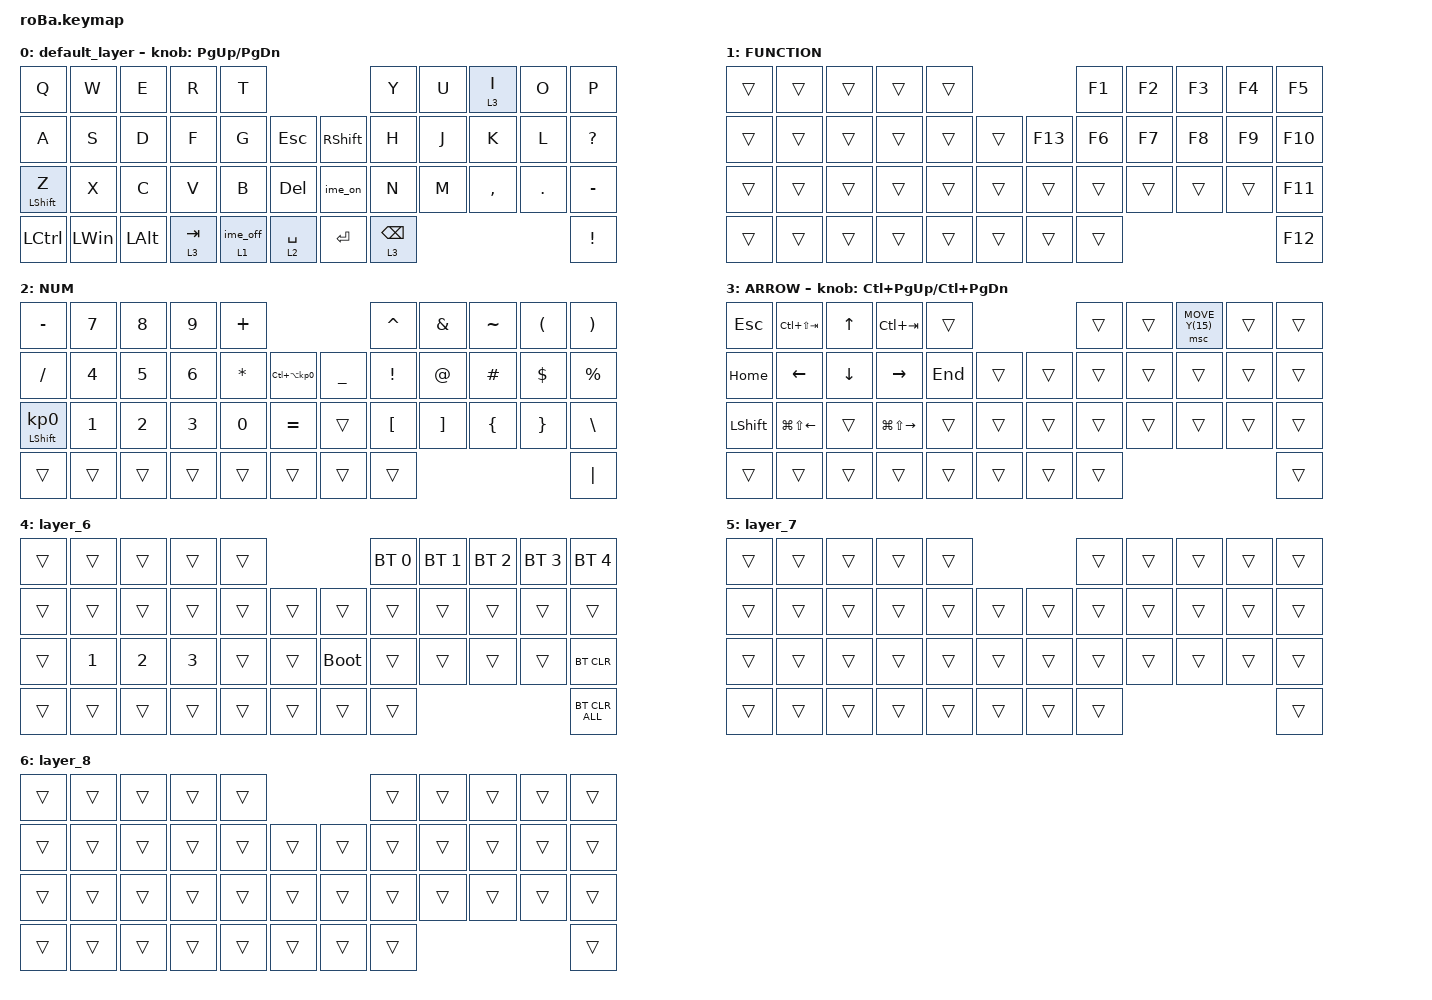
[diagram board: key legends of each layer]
#include <behaviors.dtsi>
#include <dt-bindings/zmk/bt.h>
#include <dt-bindings/zmk/keys.h>
#include <dt-bindings/zmk/pointing.h>

// The host OS uses the US keyboard layout, where Henkan/Muhenkan do nothing.
// Microsoft IME is set to: Shift+Space = IME on, Ctrl+Space = IME off.
// The IME only reacts when the modifier is already held before Space goes
// down, so these are sent as press-modifier / tap-Space / release-modifier
// macros (ime_on, ime_off) rather than as LS(SPACE) / LC(SPACE).

&mt {
    flavor = "balanced";
    quick-tap-ms = <0>;
};

&trackball {
    //  automouse-layer = <6>;

    scroll-layers = <6>;

    // arrows {
    //     layers = <3>;
    //     bindings =
    //         <&kp RIGHT_ARROW>,
    //         <&kp LEFT_ARROW>,
    //         <&kp UP_ARROW>,
    //         <&kp DOWN_ARROW>;
    //     tick = <10>;
    //     wait-ms = <5>;
    //     tap-ms = <5>;
    // };
};

/ {
    combos {
        compatible = "zmk,combos";

        tab {
            bindings = <&kp TAB>;
            key-positions = <11 12>;
        };

        shift_tab {
            bindings = <&kp LS(TAB)>;
            key-positions = <12 13>;
        };

        muhennkann {
            bindings = <&ime_off_to_base>;
            key-positions = <11 10>;
        };

        double_quotation {
            bindings = <&kp DOUBLE_QUOTES>;
            key-positions = <20 21>;
        };

        eq {
            bindings = <&kp EQUAL>;
            key-positions = <24 25>;
        };

        esc {
            bindings = <&kp ESC>;
            key-positions = <0 1>;
            layers = <0>;
        };

        mouse {
            bindings = <&mkp MB1>;
            key-positions = <19 18>;
        };

        mouse2 {
            bindings = <&mkp MB2>;
            key-positions = <19 20>;
        };

        mouse3 {
            bindings = <&mkp MB3>;
            key-positions = <18 19 20>;
        };
    };

    macros {
        to_layer_0: to_layer_0 {
            compatible = "zmk,behavior-macro-one-param";
            #binding-cells = <1>;
            bindings = <&to 0 &macro_param_1to1 &kp MACRO_PLACEHOLDER>;
            label = "TO_LAYER_0";
        };

        ime_on: ime_on {
            compatible = "zmk,behavior-macro";
            #binding-cells = <0>;
            bindings
                = <&macro_press &kp LSHIFT>
                , <&macro_tap &kp SPACE>
                , <&macro_release &kp LSHIFT>
                ;
        };

        // One-param form so it can be the tap side of a hold-tap; the param is ignored.
        ime_off: ime_off {
            compatible = "zmk,behavior-macro-one-param";
            #binding-cells = <1>;
            bindings
                = <&macro_press &kp LCTRL>
                , <&macro_tap &kp SPACE>
                , <&macro_release &kp LCTRL>
                ;
        };

        ime_off_to_base: ime_off_to_base {
            compatible = "zmk,behavior-macro";
            #binding-cells = <0>;
            bindings
                = <&macro_tap &to 0>
                , <&macro_press &kp LCTRL>
                , <&macro_tap &kp SPACE>
                , <&macro_release &kp LCTRL>
                ;
        };
    };

    behaviors {
        lt_to_layer_0: lt_to_layer_0 {
            compatible = "zmk,behavior-hold-tap";
            label = "LAYER_TAP_TO_0";
            bindings = <&mo>, <&to_layer_0>;

            #binding-cells = <2>;
            tapping-term-ms = <200>;
        };

        // Like &lt, but the tap turns the IME off.
        lt_ime_off: lt_ime_off {
            compatible = "zmk,behavior-hold-tap";
            #binding-cells = <2>;
            flavor = "tap-preferred";
            tapping-term-ms = <200>;
            bindings = <&mo>, <&ime_off>;
        };
    };

    keymap {
        compatible = "zmk,keymap";

        default_layer {
            bindings = <
&kp Q             &kp W         &kp E         &kp R      &kp T                                                 &kp Y            &kp U  &lt 3 I    &kp O    &kp P
&kp A             &kp S         &kp D         &kp F      &kp G               &kp ESC          &kp RIGHT_SHIFT  &kp H            &kp J  &kp K      &kp L    &kp QUESTION
&mt LEFT_SHIFT Z  &kp X         &kp C         &kp V      &kp B               &kp DEL          &ime_on          &kp N            &kp M  &kp COMMA  &kp DOT  &kp MINUS
&kp LCTRL         &kp LEFT_WIN  &kp LEFT_ALT  &lt 3 TAB  &lt_ime_off 1 0     &lt 2 SPACE      &kp ENTER        &lt 3 BACKSPACE                             &kp EXCL
            >;

            sensor-bindings = <&inc_dec_kp PG_UP PAGE_DOWN>;
        };

        FUNCTION {
            bindings = <
&trans  &trans  &trans  &trans  &trans                       &kp F1  &kp F2  &kp F3  &kp F4  &kp F5
&trans  &trans  &trans  &trans  &trans  &trans      &kp F13  &kp F6  &kp F7  &kp F8  &kp F9  &kp F10
&trans  &trans  &trans  &trans  &trans  &trans      &trans   &trans  &trans  &trans  &trans  &kp F11
&trans  &trans  &trans  &trans  &trans  &trans      &trans   &trans                          &kp F12
            >;
        };

        NUM {
            bindings = <
&kp MINUS                   &kp NUMBER_7  &kp NUMBER_8  &kp NUMBER_9  &kp PLUS                                                   &kp CARET         &kp AMPERSAND      &kp TILDE       &kp LEFT_PARENTHESIS  &kp RIGHT_PARENTHESIS
&kp SLASH                   &kp NUMBER_4  &kp NUMBER_5  &kp NUMBER_6  &kp ASTERISK  &kp LC(LA(KP_NUMBER_0))      &kp UNDERSCORE  &kp EXCLAMATION   &kp AT_SIGN        &kp HASH        &kp DOLLAR            &kp PERCENT
&mt LEFT_SHIFT KP_NUMBER_0  &kp NUMBER_1  &kp NUMBER_2  &kp NUMBER_3  &kp NUMBER_0  &kp EQUAL                    &trans          &kp LEFT_BRACKET  &kp RIGHT_BRACKET  &kp LEFT_BRACE  &kp RIGHT_BRACE       &kp BACKSLASH
&trans                      &trans        &trans        &trans        &trans        &trans                       &trans          &trans                                                                     &kp PIPE
            >;
        };

        ARROW {
            bindings = <
&kp ESCAPE      &kp LC(LS(TAB))         &kp UP_ARROW    &kp LC(TAB)              &trans                       &trans  &trans  &msc MOVE_Y(15)  &trans  &trans
&kp HOME        &kp LEFT_ARROW          &kp DOWN_ARROW  &kp RIGHT_ARROW          &kp END  &trans      &trans  &trans  &trans  &trans           &trans  &trans
&kp LEFT_SHIFT  &kp LG(LS(LEFT_ARROW))  &trans          &kp LG(LS(RIGHT_ARROW))  &trans   &trans      &trans  &trans  &trans  &trans           &trans  &trans
&trans          &trans                  &trans          &trans                   &trans   &trans      &trans  &trans                                   &trans
            >;

            sensor-bindings = <&inc_dec_kp LC(PAGE_UP) LC(PAGE_DOWN)>;
        };

        layer_6 {
            bindings = <
&trans  &trans        &trans        &trans        &trans                           &bt BT_SEL 0  &bt BT_SEL 1  &bt BT_SEL 2  &bt BT_SEL 3  &bt BT_SEL 4
&trans  &trans        &trans        &trans        &trans  &trans      &trans       &trans        &trans        &trans        &trans        &trans
&trans  &kp NUMBER_1  &kp NUMBER_2  &kp NUMBER_3  &trans  &trans      &bootloader  &trans        &trans        &trans        &trans        &bt BT_CLR
&trans  &trans        &trans        &trans        &trans  &trans      &trans       &trans                                                  &bt BT_CLR_ALL
            >;
        };

        layer_7 {
            bindings = <
&trans  &trans  &trans  &trans  &trans                      &trans  &trans  &trans  &trans  &trans
&trans  &trans  &trans  &trans  &trans  &trans      &trans  &trans  &trans  &trans  &trans  &trans
&trans  &trans  &trans  &trans  &trans  &trans      &trans  &trans  &trans  &trans  &trans  &trans
&trans  &trans  &trans  &trans  &trans  &trans      &trans  &trans                          &trans
            >;
        };

        layer_8 {
            bindings = <
&trans  &trans  &trans  &trans  &trans                      &trans  &trans  &trans  &trans  &trans
&trans  &trans  &trans  &trans  &trans  &trans      &trans  &trans  &trans  &trans  &trans  &trans
&trans  &trans  &trans  &trans  &trans  &trans      &trans  &trans  &trans  &trans  &trans  &trans
&trans  &trans  &trans  &trans  &trans  &trans      &trans  &trans                          &trans
            >;
        };
    };
};
